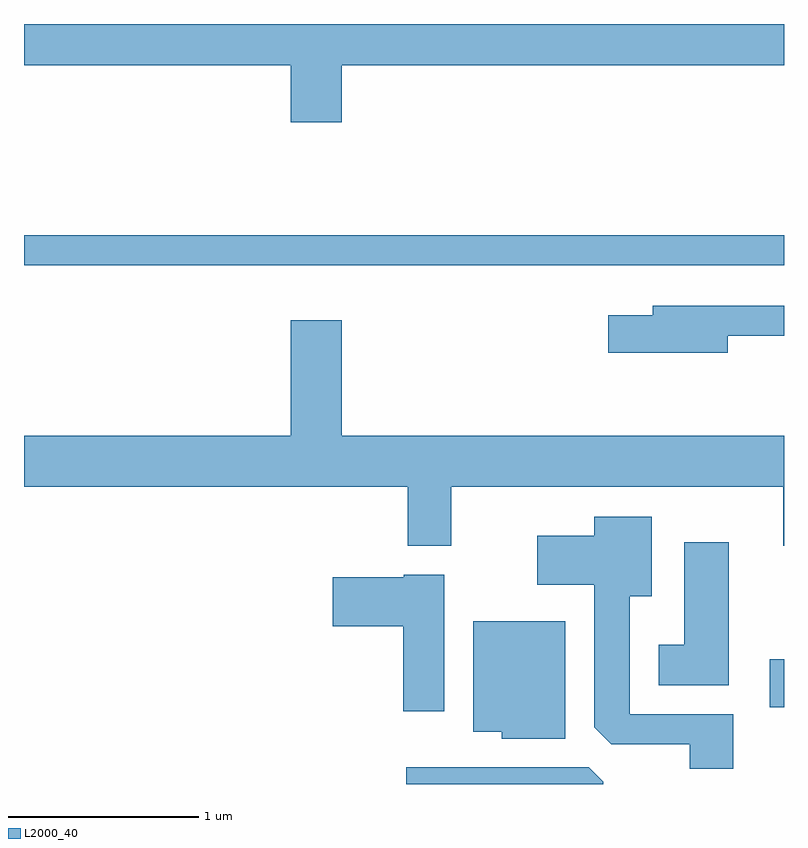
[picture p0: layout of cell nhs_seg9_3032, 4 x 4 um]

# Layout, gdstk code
import gdstk
lib = gdstk.Library(unit=1e-6, precision=1e-09)
def R(c, l, rs):  # rectangles x0, y0, x1, y1
    for r in rs: c.add(gdstk.rectangle(r[:2], r[2:], *l))
def P(c, l, *ps):  # polygons
    for p in ps: c.add(gdstk.Polygon(p, *l))
L2000_40 = (2000, 40)

nhs_seg9_3032 = lib.new_cell('nhs_seg9_3032')
R(nhs_seg9_3032, L2000_40, [(277.536,2032.836,277.611,2033.089), (273.611,2035.161,277.611,2035.319)])
P(nhs_seg9_3032, L2000_40, [(275.284,2036.216),(277.611,2036.216),(277.611,2036.432),(273.611,2036.432),(273.611,2036.216),(275.016,2036.216),(275.016,2035.916),(275.284,2035.916)],
  [(277.314,2034.791),(277.611,2034.791),(277.611,2034.949),(276.921,2034.949),(276.921,2034.899),(276.686,2034.899),(276.686,2034.701),(277.314,2034.701)],
  [(275.859,2033.996),(277.606,2033.996),(277.606,2033.686),(277.611,2033.686),(277.611,2034.264),(275.284,2034.264),(275.284,2034.874),(275.016,2034.874),(275.016,2034.264),(273.611,2034.264),(273.611,2033.996),(275.631,2033.996),(275.631,2033.686),(275.859,2033.686)],
  [(277.344,2032.799),(276.799,2032.799),(276.799,2033.421),(276.914,2033.421),(276.914,2033.839),(276.611,2033.839),(276.611,2033.739),(276.311,2033.739),(276.311,2033.481),(276.611,2033.481),(276.611,2032.732),(276.702,2032.641),(277.116,2032.641),(277.116,2032.511),(277.344,2032.511)],
  [(277.319,2033.704),(277.086,2033.704),(277.086,2033.164),(276.951,2033.164),(276.951,2032.951),(277.319,2032.951)],
  [(275.824,2033.534),(275.61,2033.534),(275.61,2033.519),(275.236,2033.519),(275.236,2033.261),(275.606,2033.261),(275.606,2032.816),(275.824,2032.816)],
  [(276.459,2033.289),(275.976,2033.289),(275.976,2032.706),(276.126,2032.706),(276.126,2032.671),(276.459,2032.671)],
  [(276.659,2032.444),(276.584,2032.519),(275.623,2032.519),(275.623,2032.432),(276.659,2032.432)])

lib.write_gds('nhs_seg9_3032.gds')
